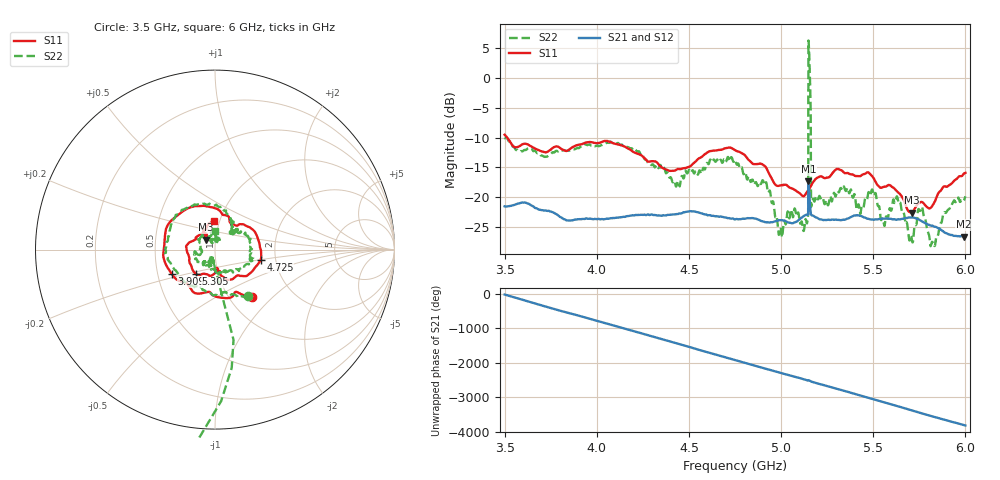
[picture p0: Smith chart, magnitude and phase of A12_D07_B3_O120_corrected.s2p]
! Created with skrf 1.9.0 (http://scikit-rf.org).
# Hz S RI R 50.0
!freq ReS11 ImS11 ReS21 ImS21 ReS12 ImS12 ReS22 ImS22
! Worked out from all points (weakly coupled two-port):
!   1601 points, 3.5 GHz to 6 GHz, reference 50 ohm
!   highest |S21| = -17.33 dB at 5.148 GHz (marker M1); lowest = -26.6 dB at 5.992 GHz (marker M2)
!   lowest |S11| = -22.6 dB at 5.708 GHz (marker M3), VSWR 1.16, Z = 45.1 + j5.07 ohm
!   |S11| at or under -10 dB: 3.514 GHz to end of sweep
!   |S22| runs from -28.2 to 6.3 dB; largest |S21 - S12| = 0.0011
!   S11 on the Smith chart (normalised r, x): 3.5 GHz: 1.27, -0.75; 3.909 GHz: 0.59, -0.17; 4.725 GHz: 1.67, -0.20; 5.305 GHz: 0.78, -0.22; 6 GHz: 0.94, +0.31
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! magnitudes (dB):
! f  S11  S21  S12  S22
! 3.5 GHz  -9.5  -21.5  -21.5  -10.1
! 3.909 GHz  -11.2  -23.7  -23.6  -11.6
! 3.917 GHz  -11.1  -23.7  -23.7  -11.4
! 4.334 GHz  -14.5  -23.0  -23.0  -15.1
! 4.439 GHz  -15.3  -22.8  -22.8  -17.4
! 4.725 GHz  -11.7  -23.6  -23.5  -13.6
! 4.75 GHz  -12.1  -23.7  -23.6  -13.8
! 4.911 GHz  -14.7  -24.1  -24.1  -17.9
! 4.997 GHz  -18.0  -23.8  -23.8  -25.1
! 5.134 GHz  -19.4  -23.0  -22.9  -23.7
! 5.148 GHz  -18.8  -17.3  -17.4  6.3
! 5.161 GHz  -18.2  -22.5  -22.4  -5.8
! 5.167 GHz  -17.8  -23.0  -23.0  -20.9
! 5.175 GHz  -17.4  -23.1  -23.1  -20.4
! 5.305 GHz  -15.2  -23.8  -23.8  -19.0
! 5.584 GHz  -17.9  -23.6  -23.6  -22.6
! 5.636 GHz  -19.2  -23.7  -23.7  -20.8
! 5.708 GHz  -22.6  -23.4  -23.4  -26.8
! 5.755 GHz  -20.9  -23.9  -23.8  -22.3
! 5.823 GHz  -21.3  -24.8  -24.8  -27.7
! 5.992 GHz  -16.0  -26.6  -26.5  -20.5
! 6 GHz  -15.9  -26.6  -26.5  -19.8
